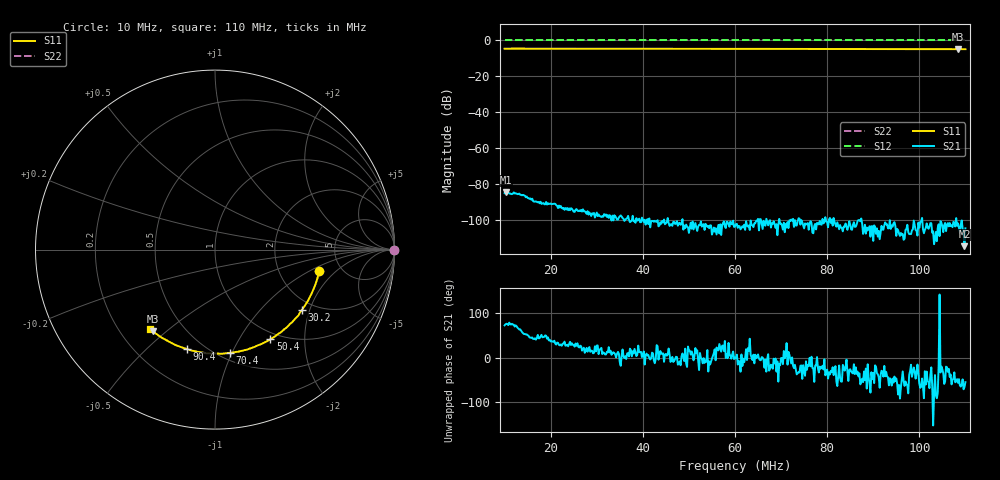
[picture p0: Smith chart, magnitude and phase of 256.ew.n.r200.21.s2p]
! Anritsu VNA Master:  Model: MS2036C/10/77
! SN:  1601066
! /card0/usr/256.ew.n.r200.21.s2p
! Existing Calibration Information:
! TYPE:  Current Settings,  Active Cal Settings
! TIME:  12/19/2017 03:09:14 PM,  12/19/2017 02:53:44 PM
! INTERNAL TEMP:  46.8 C,  46.3 C
! # POINTS:  501,  501
! START FREQ:  10.000 MHz,  10.000 MHz
! STOP FREQ:  110.000 MHz,  110.000 MHz
! SOURCE POWER:  High,  High
! IFBW:  100 Hz,  100 Hz
! AVG FACTOR:  1 ,  1
! REF PLANE 1:  0 mm,  0 mm
! REF PLANE 2:  0 mm,  0 mm
! CAL TYPE:  Full S11,  Full S11
! CAL METHOD:  SOLT,  SOLT
! CAL LINE TYPE:  Coax,  Coax
! DUT PORT 1:  N-Conn(F),  N-Conn(F)
! DUT PORT 2:  K-Conn(F),  K-Conn(F)
! CAL STATUS:  OK: Accuracy High,  --
# GHZ S DB R 50.0
! FREQ.GHZ  S11DB  S11A  S21DB  S21A  S12DB  S12A  S22DB  S22A
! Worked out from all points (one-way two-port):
!   501 points, 10 MHz to 110 MHz, reference 50 ohm
!   highest |S21| = -84.33 dB at 10.2 MHz (marker M1); lowest = -114.3 dB at 109.8 MHz (marker M2)
!   lowest |S11| = -4.9 dB at 108.4 MHz (marker M3), VSWR 3.66, Z = 16.7 - j22.5 ohm
!   |S11| at or under -10 dB: nowhere
!   |S22| runs from 0.0 to 0.0 dB; largest |S21 - S12| = 1
!   S11 on the Smith chart (normalised r, x): 10 MHz: 3.42, -1.23; 30.2 MHz: 1.72, -1.77; 50.4 MHz: 0.90, -1.37; 70.4 MHz: 0.57, -0.98; 90.4 MHz: 0.41, -0.68; 110 MHz: 0.33, -0.43
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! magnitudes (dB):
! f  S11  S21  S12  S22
! 10 MHz  -4.6  -84.8  0.0  0.0
! 10.2 MHz  -4.5  -84.3  0.0  0.0
! 26.8 MHz  -4.6  -95.1  0.0  0.0
! 30.2 MHz  -4.6  -97.6  0.0  0.0
! 31.2 MHz  -4.6  -97.7  0.0  0.0
! 33.2 MHz  -4.6  -100.0  0.0  0.0
! 35.6 MHz  -4.6  -98.6  0.0  0.0
! 37.2 MHz  -4.6  -100.9  0.0  0.0
! 38.8 MHz  -4.6  -100.1  0.0  0.0
! 40.6 MHz  -4.6  -102.3  0.0  0.0
! 43.4 MHz  -4.6  -103.2  0.0  0.0
! 44.4 MHz  -4.6  -101.1  0.0  0.0
! 50.4 MHz  -4.6  -101.2  0.0  0.0
! 60 MHz  -4.7  -103.4  0.0  0.0
! 70.4 MHz  -4.7  -105.1  0.0  0.0
! 76.8 MHz  -4.7  -106.8  0.0  0.0
! 88.6 MHz  -4.8  -103.9  0.0  0.0
! 90.4 MHz  -4.8  -103.7  0.0  0.0
! 93.4 MHz  -4.8  -104.4  0.0  0.0
! 108.4 MHz  -4.9  -101.6  0.0  0.0
! 109.8 MHz  -4.9  -114.3  0.0  0.0
! 110 MHz  -4.9  -104.4  0.0  0.0
